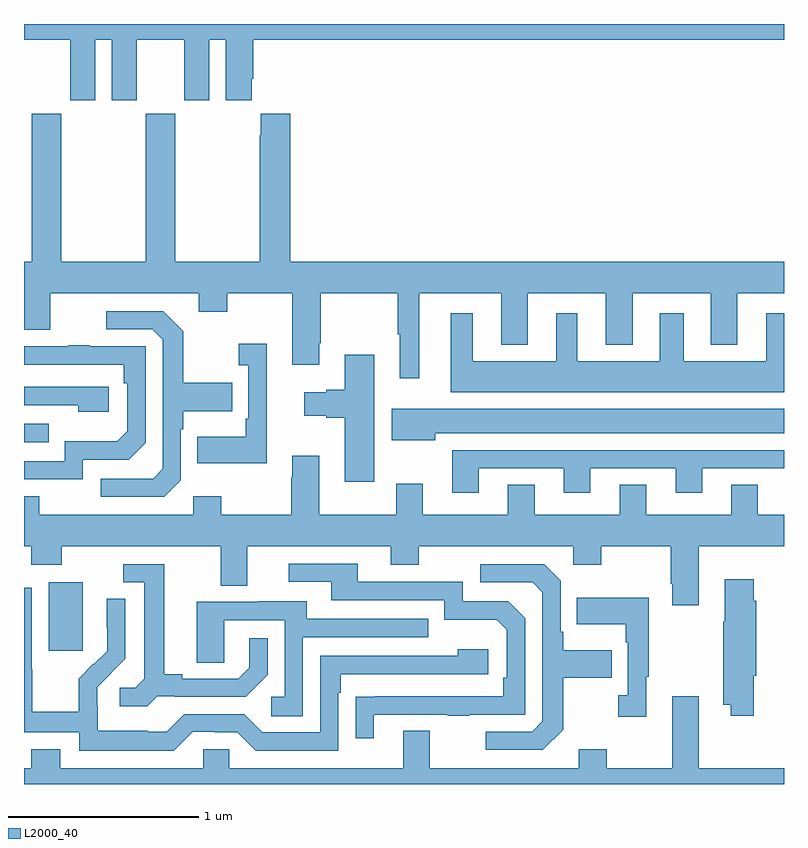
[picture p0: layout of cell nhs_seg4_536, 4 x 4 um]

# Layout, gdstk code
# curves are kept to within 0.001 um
import gdstk
lib = gdstk.Library(unit=1e-6, precision=1e-09)
def R(c, l, rs):  # rectangles x0, y0, x1, y1
    for r in rs: c.add(gdstk.rectangle(r[:2], r[2:], *l))
def P(c, l, *ps):  # polygons
    for p in ps: c.add(gdstk.Polygon(p, *l))
L2000_40 = (2000, 40)

nhs_seg4_536 = lib.new_cell('nhs_seg4_536')
R(nhs_seg4_536, L2000_40, [(137.129,797.601,137.308,797.962), (137,798.699,137.129,798.795)])
P(nhs_seg4_536, L2000_40, [(137.374,800.816),(137.462,800.816),(137.462,800.499),(137.593,800.499),(137.593,800.816),(137.843,800.816),(137.843,800.499),(137.974,800.499),(137.974,800.816),(138.062,800.816),(138.062,800.499),(138.199,800.499),(138.199,800.611),(138.206,800.611),(138.206,800.816),(141,800.816),(141,800.9),(137,800.9),(137,800.816),(137.243,800.816),(137.243,800.499),(137.374,800.499)],
  [(139.081,799.484),(139.511,799.484),(139.511,799.211),(139.651,799.211),(139.651,799.484),(140.063,799.484),(140.063,799.211),(140.203,799.211),(140.203,799.484),(140.615,799.484),(140.615,799.211),(140.755,799.211),(140.755,799.484),(141,799.484),(141,799.648),(138.401,799.648),(138.401,800.428),(138.245,800.428),(138.245,800.315),(138.241,800.315),(138.241,799.648),(137.796,799.648),(137.796,800.428),(137.641,800.428),(137.641,799.648),(137.196,799.648),(137.196,800.428),(137.041,800.428),(137.041,799.648),(137,799.648),(137,799.29),(137.137,799.29),(137.137,799.484),(137.921,799.484),(137.921,799.385),(138.069,799.385),(138.069,799.484),(138.413,799.484),(138.413,799.107),(138.553,799.107),(138.553,799.219),(138.561,799.219),(138.561,799.484),(138.967,799.484),(138.967,799.268),(138.977,799.268),(138.977,799.035),(139.081,799.035)],
  [(137.826,798.498),(137.826,798.767),(137.839,798.767),(137.839,798.863),(138.095,798.863),(138.095,799.011),(137.839,799.011),(137.839,799.283),(137.733,799.389),(137.433,799.389),(137.433,799.293),(137.676,799.293),(137.73,799.239),(137.73,798.558),(137.679,798.507),(137.403,798.507),(137.403,798.411),(137.739,798.411)],
  [(141,799.378),(140.906,799.378),(140.906,799.126),(140.473,799.126),(140.473,799.378),(140.345,799.378),(140.345,799.126),(139.912,799.126),(139.912,799.378),(139.802,799.378),(139.802,799.126),(139.363,799.126),(139.363,799.378),(139.247,799.378),(139.247,798.962),(141,798.962)],
  [(138.278,799.216),(138.129,799.216),(138.129,799.103),(138.18,799.103),(138.18,798.823),(138.168,798.823),(138.168,798.727),(137.911,798.727),(137.911,798.587),(138.278,798.587)],
  [(137.31,798.606),(137.55,798.606),(137.64,798.696),(137.64,799.203),(137.345,799.203),(137.345,799.208),(137.233,799.208),(137.233,799.203),(137,799.203),(137,799.107),(137.524,799.107),(137.524,799.01),(137.544,799.01),(137.544,798.756),(137.491,798.703),(137.214,798.703),(137.214,798.6),(137,798.6),(137,798.504),(137.31,798.504)],
  [(138.844,799.159),(138.689,799.159),(138.689,798.974),(138.59,798.974),(138.59,798.961),(138.474,798.961),(138.474,798.839),(138.59,798.839),(138.59,798.827),(138.689,798.827),(138.689,798.492),(138.844,798.492)],
  [(137.446,798.99),(137,798.99),(137,798.894),(137.285,798.894),(137.285,798.86),(137.446,798.86)],
  [(139.165,798.746),(141,798.746),(141,798.874),(138.936,798.874),(138.936,798.71),(139.165,798.71)],
  [(139.393,798.561),(139.841,798.561),(139.841,798.432),(139.981,798.432),(139.981,798.561),(140.429,798.561),(140.429,798.432),(140.569,798.432),(140.569,798.561),(141,798.561),(141,798.657),(139.253,798.657),(139.253,798.432),(139.393,798.432)],
  [(140.551,798.152),(141,798.152),(141,798.316),(140.863,798.316),(140.863,798.476),(140.723,798.476),(140.723,798.316),(140.275,798.316),(140.275,798.476),(140.135,798.476),(140.135,798.316),(139.687,798.316),(139.687,798.476),(139.547,798.476),(139.547,798.316),(139.099,798.316),(139.099,798.481),(138.959,798.481),(138.959,798.316),(138.553,798.316),(138.553,798.628),(138.413,798.628),(138.413,798.515),(138.406,798.515),(138.406,798.316),(138.039,798.316),(138.039,798.415),(137.892,798.415),(137.892,798.316),(137.079,798.316),(137.079,798.415),(137,798.415),(137,798.152),(137.039,798.152),(137.039,798.053),(137.199,798.053),(137.199,798.152),(138.035,798.152),(138.035,797.944),(138.175,797.944),(138.175,798.152),(138.929,798.152),(138.929,798.053),(139.077,798.053),(139.077,798.152),(139.89,798.152),(139.89,798.053),(140.037,798.053),(140.037,798.152),(140.404,798.152),(140.404,797.953),(140.411,797.953),(140.411,797.841),(140.551,797.841)],
  [(138.841,797.265),(139.231,797.265),(139.231,797.26),(139.343,797.26),(139.343,797.265),(139.638,797.265),(139.638,797.772),(139.548,797.862),(139.308,797.862),(139.308,797.964),(138.757,797.964),(138.757,798.06),(138.393,798.06),(138.393,797.964),(138.617,797.964),(138.617,797.868),(139.212,797.868),(139.212,797.765),(139.489,797.765),(139.542,797.712),(139.542,797.458),(139.522,797.458),(139.522,797.361),(138.745,797.36),(138.745,797.142),(138.841,797.142)],
  [(137.7,797.361),(137.794,797.361),(137.794,797.358),(138.166,797.358),(138.282,797.474),(138.282,797.668),(138.185,797.668),(138.185,797.511),(138.128,797.454),(137.833,797.454),(137.833,797.477),(137.737,797.477),(137.737,798.057),(137.523,798.057),(137.523,797.961),(137.633,797.961),(137.633,797.453),(137.586,797.406),(137.505,797.406),(137.505,797.309),(137.648,797.309)],
  [(139.837,797.185),(139.837,797.458),(140.093,797.458),(140.093,797.605),(139.837,797.605),(139.837,797.701),(139.824,797.701),(139.824,797.97),(139.737,798.057),(139.401,798.057),(139.401,797.961),(139.677,797.961),(139.728,797.91),(139.728,797.229),(139.674,797.175),(139.431,797.175),(139.431,797.079),(139.731,797.079)],
  [(140.842,797.471),(140.855,797.471),(140.855,797.864),(140.842,797.864),(140.842,797.977),(140.687,797.977),(140.687,797.753),(140.68,797.753),(140.68,797.318),(140.72,797.318),(140.72,797.259),(140.842,797.259)],
  [(137.889,797.175),(138.005,797.175),(138.005,797.172),(138.123,797.172),(138.219,797.076),(138.654,797.076),(138.654,797.381),(138.667,797.381),(138.667,797.478),(139.444,797.478),(139.444,797.608),(139.283,797.608),(139.283,797.574),(138.558,797.574),(138.558,797.172),(138.255,797.172),(138.159,797.268),(137.844,797.268),(137.751,797.175),(137.651,797.175),(137.651,797.179),(137.388,797.179),(137.388,797.313),(137.386,797.313),(137.386,797.41),(137.532,797.558),(137.532,797.876),(137.436,797.876),(137.436,797.722),(137.438,797.722),(137.438,797.6),(137.367,797.529),(137.364,797.532),(137.287,797.455),(137.287,797.281),(137.043,797.281),(137.043,797.504),(137.04,797.504),(137.04,797.934),(137,797.934),(137,797.172),(137.292,797.172),(137.292,797.075),(137.789,797.075)],
  [(140.275,797.465),(140.287,797.465),(140.287,797.881),(139.909,797.881),(139.909,797.741),(140.166,797.741),(140.166,797.645),(140.178,797.645),(140.178,797.366),(140.127,797.366),(140.127,797.253),(140.275,797.253)],
  [(138.468,797.673),(139.127,797.673),(139.127,797.769),(138.487,797.769),(138.487,797.863),(138.233,797.863),(138.233,797.859),(137.909,797.859),(137.909,797.539),(138.054,797.539),(138.054,797.763),(138.372,797.763),(138.372,797.358),(138.3,797.358),(138.3,797.257),(138.468,797.257)],
  [(141,796.984),(140.551,796.984),(140.551,797.362),(140.411,797.362),(140.411,796.984),(140.067,796.984),(140.067,797.083),(139.919,797.083),(139.919,796.984),(139.135,796.984),(139.135,797.179),(138.995,797.179),(138.995,796.984),(138.081,796.984),(138.081,797.082),(137.943,797.082),(137.943,796.984),(137.191,796.984),(137.191,797.083),(137.039,797.083),(137.039,796.984),(137,796.984),(137,796.9),(141,796.9)])

lib.write_gds('nhs_seg4_536.gds')
